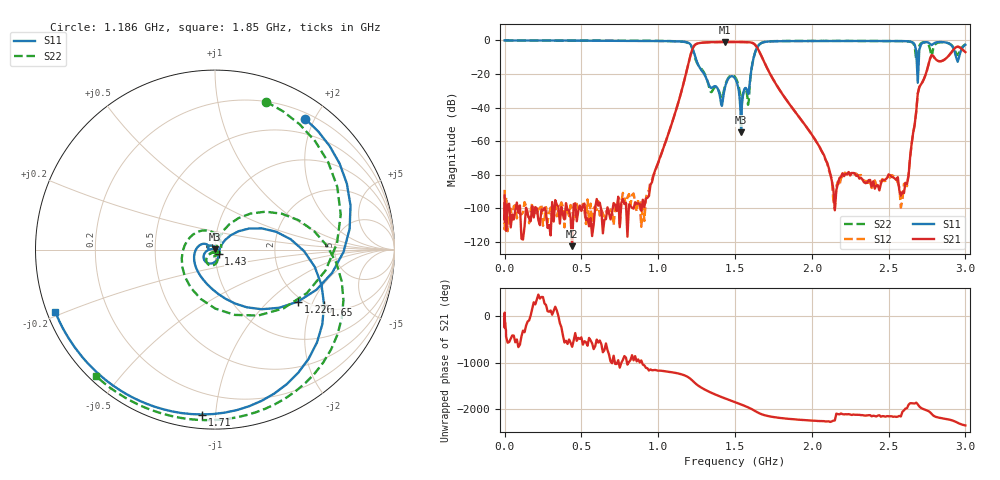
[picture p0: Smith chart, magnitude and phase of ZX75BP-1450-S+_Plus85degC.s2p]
! Mini-Circuits
! S2P DATA File Format
! Type: BAND PASS FILTER
! Model: ZX75BP-1450-S+
! All S Parameters are in dB deg format
! TEST CONDITIONS: INPUT POWER = 0 dBm @ Temperature = +85deg C
# MHz S dB R 50
!Frequency  S11 dB  S11 DEG  S21 dB  S21 DEG  S12 dB  S12 DEG  S22 dB  S22 DEG
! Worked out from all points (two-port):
!   393 points, 300 kHz to 3 GHz, reference 50 ohm
!   highest |S21| = -0.91 dB at 1.435 GHz (marker M1); lowest = -122.6 dB at 440 MHz (marker M2)
!   |S21| within 3 dB of the highest: 1.229 GHz to 1.642 GHz (412.7 MHz wide, 28.7 % of centre); 2.942 GHz to 2.959 GHz (16.84 MHz wide, 0.571 % of centre)
!   lowest |S11| = -54.8 dB at 1.54 GHz (marker M3), VSWR 1.00, Z = 50.2 + j0.0676 ohm
!   |S11| at or under -10 dB: 1.242 GHz to 1.622 GHz (380 MHz wide, 26.5 % of centre); 2.682 GHz to 2.698 GHz (15.74 MHz wide, 0.585 % of centre); 2.94 GHz to 2.958 GHz (18.64 MHz wide, 0.632 % of centre)
!   |S22| runs from -38.4 to 0.0 dB; largest |S21 - S12| = 0.0027
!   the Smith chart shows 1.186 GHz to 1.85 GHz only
!   S11 on the Smith chart (normalised r, x): 1.186 GHz: 0.28, +1.88; 1.226 GHz: 1.89, -1.56; 1.43 GHz: 1.04, -0.05; 1.65 GHz: 2.15, -2.48; 1.71 GHz: 0.08, -0.92; 1.85 GHz: 0.02, -0.19
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0.3  -0.00 -0.0  -92.45 -72.1  -89.07 45.9  0.00 -0.1
440  -0.08 -68.2  -122.63 60.3  -100.06 71.8  -0.05 -61.0
510  -0.10 -79.4  -98.63 107.1  -97.38 -167.6  -0.06 -71.3
1010  -0.34 173.0  -70.10 -92.8  -70.34 -93.2  -0.26 -170.7
1186  -1.06 55.3  -17.87 143.4  -17.90 143.5  -1.19 71.1
1226  -5.26 -32.0  -4.50 42.0  -4.49 42.1  -5.97 -40.7
1274  -16.72 -136.4  -1.48 -85.6  -1.48 -85.6  -16.17 154.0
1330  -26.38 148.3  -1.08 174.0  -1.08 174.0  -27.25 36.7
1430  -30.10 -49.6  -0.91 34.4  -0.92 34.4  -28.94 -72.3
1435  -27.98 -60.3  -0.91 28.0  -0.91 28.0  -27.13 -71.9
1505  -23.40 -155.5  -0.92 -58.8  -0.92 -58.8  -22.44 -130.4
1540  -54.83 21.8  -0.93 -102.9  -0.93 -102.9  -35.05 -109.1
1650  -3.33 -26.9  -5.15 80.8  -5.15 81.1  -3.35 -6.3
1710  -0.71 -94.5  -16.63 11.1  -16.60 11.2  -0.63 -72.4
1850  -0.40 -158.5  -37.38 -53.0  -37.35 -53.2  -0.29 -133.3
2010  -0.35 161.1  -57.51 -92.6  -57.50 -92.3  -0.25 -171.2
2510  -0.31 72.4  -80.32 2.2  -81.78 -2.0  -0.30 105.8
2630  -0.54 43.2  -80.69 -108.1  -79.43 -98.8  -0.61 77.5
2690  -25.19 -179.5  -31.62 -99.4  -31.64 -99.5  -9.06 143.9
2710  -2.52 84.0  -26.33 -175.0  -26.36 -175.1  -1.74 104.6
2780  -2.77 44.8  -8.78 53.7  -8.80 53.7  -9.80 83.8
3000  -2.57 45.3  -6.95 164.6  -7.00 164.6  -2.33 80.5
